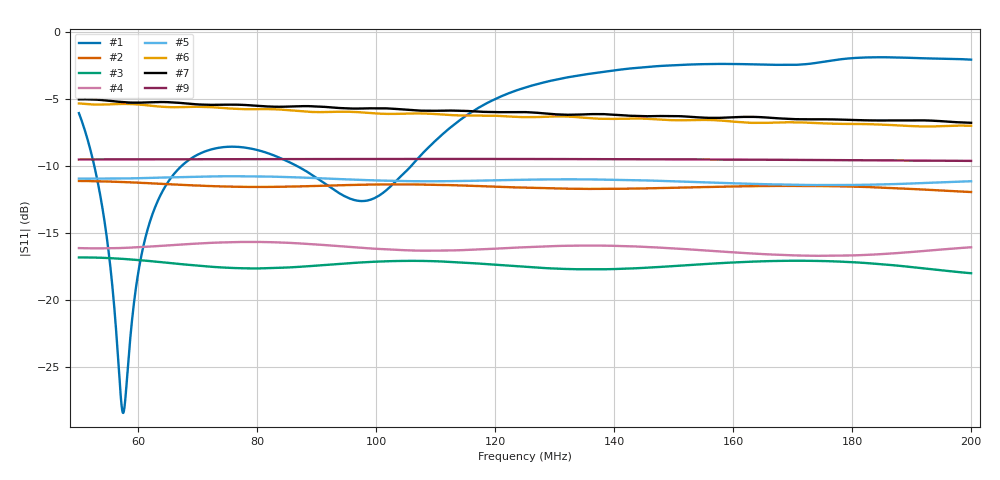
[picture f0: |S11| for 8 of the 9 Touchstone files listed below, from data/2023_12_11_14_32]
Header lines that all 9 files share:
! COPPER MOUNTAIN TECHNOLOGIES, PLANAR TR1300/1, 00071119, 20.2.2/1.0
! Data: Format [Calibration Info]
! Freq  S11: Re/Im F1
# HZ S RI R 50
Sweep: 50 MHz to 200 MHz
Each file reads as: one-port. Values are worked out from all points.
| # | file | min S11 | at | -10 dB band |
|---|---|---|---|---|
| 1 | ant.s1p | -28.4 dB | 57.43 MHz | 19.17 MHz wide |
| 2 | c12r27.s1p | -11.9 dB | 200 MHz | over 150 MHz wide |
| 3 | c12r36.s1p | -18.0 dB | 200 MHz | over 150 MHz wide |
| 4 | c12r69.s1p | -16.7 dB | 175.4 MHz | over 150 MHz wide |
| 5 | c12r91.s1p | -11.4 dB | 176.4 MHz | over 150 MHz wide |
| 6 | c25r10.s1p | -7.0 dB | 192.7 MHz | - |
| 7 | c25r250.s1p | -6.8 dB | 200 MHz | - |
| 8 | r25.s1p | -10.0 dB | 147.1 MHz | - |
| 9 | r100.s1p | -9.6 dB | 200 MHz | - |
